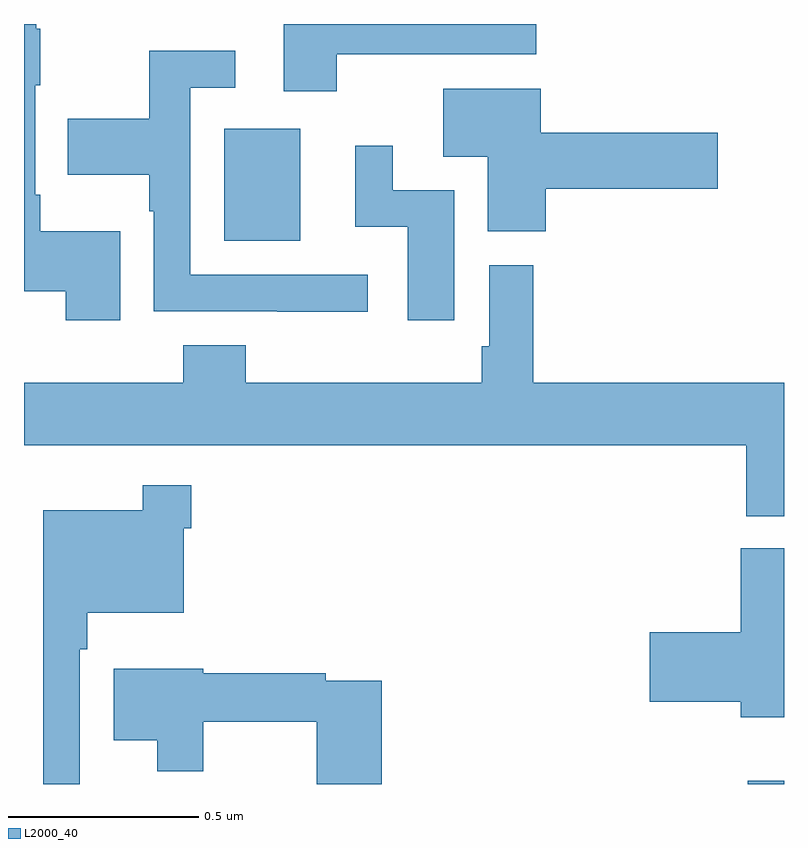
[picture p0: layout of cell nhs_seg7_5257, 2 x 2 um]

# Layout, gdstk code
import gdstk
lib = gdstk.Library(unit=1e-6, precision=1e-09)
def R(c, l, rs):  # rectangles x0, y0, x1, y1
    for r in rs: c.add(gdstk.rectangle(r[:2], r[2:], *l))
def P(c, l, *ps):  # polygons
    for p in ps: c.add(gdstk.Polygon(p, *l))
L2000_40 = (2000, 40)

nhs_seg7_5257 = lib.new_cell('nhs_seg7_5257')
R(nhs_seg7_5257, L2000_40, [(184.905,1057,185,1057.008), (183.527,1058.429,183.727,1058.725)])
P(nhs_seg7_5257, L2000_40, [(183.253,1058.455),(183.043,1058.455),(183.043,1058.551),(183.03,1058.551),(183.03,1058.839),(183.043,1058.839),(183.043,1058.987),(183.032,1058.987),(183.032,1059),(183,1059),(183,1058.297),(183.11,1058.297),(183.11,1058.22),(183.253,1058.22)],
  [(183.823,1058.921),(184.348,1058.921),(184.348,1059),(183.683,1059),(183.683,1058.823),(183.823,1058.823)],
  [(183.904,1058.34),(183.438,1058.34),(183.438,1058.832),(183.556,1058.832),(183.556,1058.929),(183.33,1058.929),(183.33,1058.751),(183.115,1058.751),(183.115,1058.603),(183.33,1058.603),(183.33,1058.507),(183.342,1058.507),(183.342,1058.244),(183.667,1058.244),(183.667,1058.243),(183.904,1058.243)],
  [(184.373,1058.567),(184.825,1058.567),(184.825,1058.714),(184.36,1058.714),(184.36,1058.83),(184.103,1058.83),(184.103,1058.651),(184.22,1058.651),(184.22,1058.454),(184.373,1058.454)],
  [(184.132,1058.562),(183.97,1058.562),(183.97,1058.68),(183.872,1058.68),(183.872,1058.466),(184.01,1058.466),(184.01,1058.22),(184.132,1058.22)],
  [(183.419,1058.155),(183.419,1058.056),(183,1058.056),(183,1057.892),(184.901,1057.892),(184.901,1057.705),(185,1057.705),(185,1058.056),(184.34,1058.056),(184.34,1058.365),(184.224,1058.365),(184.224,1058.152),(184.204,1058.152),(184.204,1058.056),(183.584,1058.056),(183.584,1058.155)],
  [(183.147,1057.355),(183.167,1057.355),(183.167,1057.451),(183.42,1057.451),(183.42,1057.673),(183.44,1057.673),(183.44,1057.786),(183.312,1057.786),(183.312,1057.72),(183.05,1057.72),(183.05,1057),(183.147,1057)],
  [(185,1057.62),(184.886,1057.62),(184.886,1057.4),(184.647,1057.4),(184.647,1057.217),(184.886,1057.217),(184.886,1057.176),(185,1057.176)],
  [(183.941,1057.272),(183.794,1057.272),(183.794,1057.292),(183.472,1057.292),(183.472,1057.303),(183.236,1057.303),(183.236,1057.115),(183.35,1057.115),(183.35,1057.034),(183.472,1057.034),(183.472,1057.164),(183.77,1057.164),(183.77,1057),(183.941,1057)])

lib.write_gds('nhs_seg7_5257.gds')
